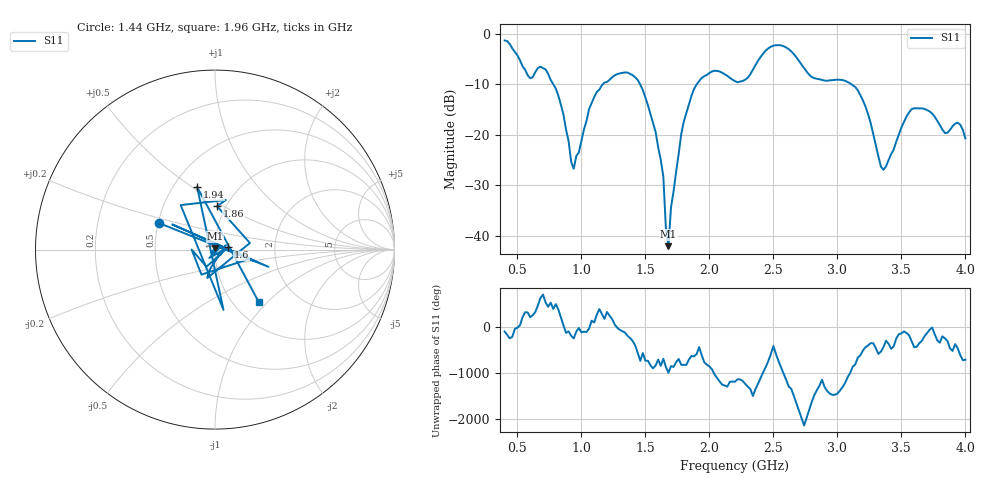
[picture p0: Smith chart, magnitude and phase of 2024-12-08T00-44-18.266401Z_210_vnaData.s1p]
!Created with skrf (http://scikit-rf.org).
# Hz S RI R 50.0
!freq ReS11 ImS11
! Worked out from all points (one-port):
!   181 points, 400 MHz to 4 GHz, reference 50 ohm
!   lowest |S11| = -42.0 dB at 1.68 GHz (marker M1), VSWR 1.02, Z = 50.1 + j0.789 ohm
!   |S11| at or under -10 dB: 779.1 MHz to 1.169 GHz (390 MHz wide, 40 % of centre); 1.458 GHz to 1.902 GHz (444.4 MHz wide, 26.4 % of centre); 3.107 GHz to end of sweep
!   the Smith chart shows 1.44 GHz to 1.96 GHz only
!   S11 on the Smith chart (normalised r, x): 1.44 GHz: 0.50, +0.17; 1.6 GHz: 1.16, +0.03; 1.86 GHz: 0.91, +0.47; 1.94 GHz: 0.65, +0.52; 1.96 GHz: 1.30, -0.88
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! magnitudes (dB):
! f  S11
! 400 MHz  -1.4
! 600 MHz  -8.9
! 720 MHz  -7.1
! 860 MHz  -16.1
! 940 MHz  -26.7
! 1.1 GHz  -12.6
! 1.3 GHz  -7.9
! 1.44 GHz  -9.2
! 1.6 GHz  -22.5
! 1.64 GHz  -28.3
! 1.66 GHz  -38.5
! 1.68 GHz  -42.0
! 1.7 GHz  -34.4
! 1.76 GHz  -23.8
! 1.86 GHz  -12.3
! 1.94 GHz  -8.8
! 1.96 GHz  -8.4
! 2.2 GHz  -9.4
! 2.48 GHz  -2.6
! 2.66 GHz  -4.1
! 2.8 GHz  -8.6
! 3.1 GHz  -9.9
! 3.22 GHz  -14.5
! 3.36 GHz  -26.9
! 3.56 GHz  -15.6
! 3.84 GHz  -19.7
! 3.94 GHz  -17.6
! 4 GHz  -20.7
